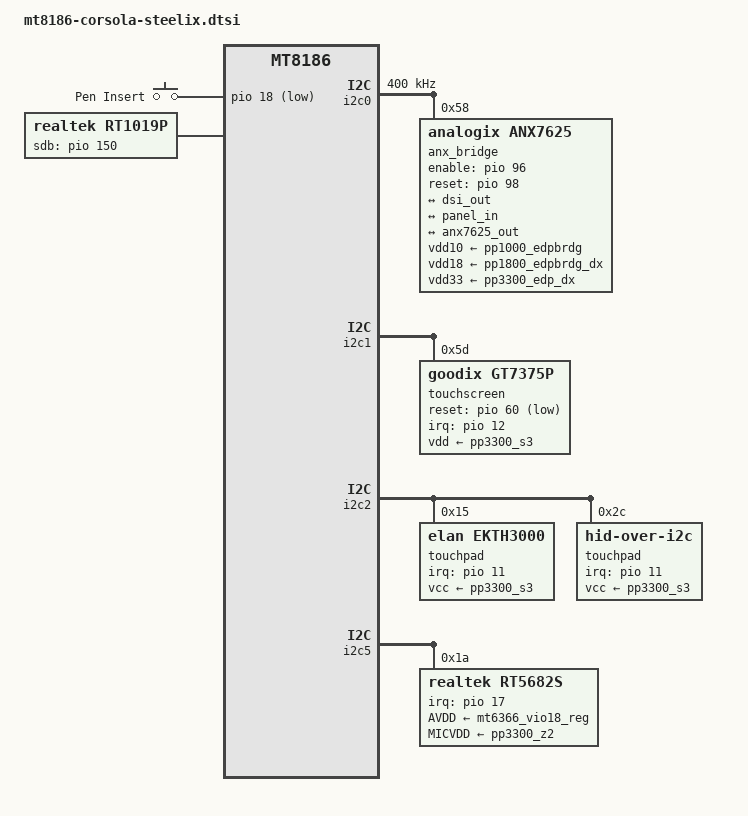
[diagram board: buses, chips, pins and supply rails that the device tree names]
// SPDX-License-Identifier: (GPL-2.0 OR MIT)
/*
 * Copyright 2022 Google LLC
 */

/dts-v1/;
#include "mt8186-corsola.dtsi"
#include "mt8186-corsola-it6505.dtsi"
#include <dt-bindings/input/input.h>
#include <dt-bindings/input/gpio-keys.h>

/ {
	gpio_keys: gpio-keys {
		status = "okay";

		compatible = "gpio-keys";
		pinctrl-names = "default";
		pinctrl-0 = <&pen_eject>;

		pen_insert: pen-insert {
			label = "Pen Insert";
			/* Insert = low, eject = high */
			gpios = <&pio 18 GPIO_ACTIVE_LOW>;
			linux,code = <SW_PEN_INSERTED>;
			linux,input-type = <EV_SW>;
			wakeup-event-action = <EV_ACT_DEASSERTED>;
			wakeup-source;
		};
	};

	rt1019p: rt1019p {
		status = "okay";

		compatible = "realtek,rt1019p";
		pinctrl-names = "default";
		pinctrl-0 = <&rt1019p_pins_default>;
		sdb-gpios = <&pio 150 GPIO_ACTIVE_HIGH>;
		#sound-dai-cells = <0>;
	};
};

&dpi0 {
	pinctrl-names = "sleep", "default";
	pinctrl-0 = <&dpi_pin_default>;
	pinctrl-1 = <&dpi_pin_func>;
};

&dsi_out {
	remote-endpoint = <&anx7625_in_>;
};

&i2c0 {
	clock-frequency = <400000>;

	anx_bridge: anx7625@58 {
		compatible = "analogix,anx7625";
		reg = <0x58>;
		pinctrl-names = "default";
		pinctrl-0 = <&anx7625_pins>;
		panel_flags = <1>;
		enable-gpios = <&pio 96 GPIO_ACTIVE_HIGH>;
		reset-gpios = <&pio 98 GPIO_ACTIVE_HIGH>;
		vdd10-supply = <&pp1000_edpbrdg>;
		vdd18-supply = <&pp1800_edpbrdg_dx>;
		vdd33-supply = <&pp3300_edp_dx>;
		#address-cells = <1>;
		#size-cells = <0>;
		analogix,lane0-swing = /bits/ 8 <0x70 0x30>;
		analogix,lane1-swing = /bits/ 8 <0x70 0x30>;

		port@0 {
			reg = <0>;

			anx7625_in_: endpoint {
				remote-endpoint = <&dsi_out>;
				data-lanes = <0 1 2 3>;
			};
		};

		port@1 {
			reg = <1>;

			anx7625_out: endpoint {
				remote-endpoint = <&panel_in>;
			};
		};

		aux-bus {
			panel: panel {
				compatible = "auo,b116xw03";
				power-supply = <&pp3300_disp_x>;
				backlight = <&backlight_lcd0>;

				port {
					panel_in: endpoint {
						remote-endpoint = <&anx7625_out>;
					};
				};
			};
		};
	};
};

&i2c1 {
	touchscreen: touchscreen@5d {
		status = "okay";

		compatible = "goodix,gt7375p";
		reg = <0x5d>;
		interrupt-parent = <&pio>;
		interrupts = <12 IRQ_TYPE_EDGE_FALLING>;
		pinctrl-names = "default";
		pinctrl-0 = <&touchscreen_pins>;
		reset-gpios = <&pio 60 GPIO_ACTIVE_LOW>;
		vdd-supply = <&pp3300_s3>;
	};
};

&i2c2 {
	i2c-scl-internal-delay-ns = <22000>;
	pinctrl-0 = <&i2c2_pins &trackpad_pins>;
	pinctrl-names = "default";

	touchpad@15 {
		compatible = "elan,ekth3000";
		reg = <0x15>;
		interrupt-parent = <&pio>;
		interrupts = <11 IRQ_TYPE_LEVEL_LOW>;
		vcc-supply = <&pp3300_s3>;
		wakeup-source;
	};

	touchpad@2c {
		compatible = "hid-over-i2c";
		reg = <0x2c>;
		hid-descr-addr = <0x20>;
		interrupts-extended = <&pio 11 IRQ_TYPE_LEVEL_LOW>;
		vcc-supply = <&pp3300_s3>;
		wakeup-source;
	};
};

&i2c5 {
	rt5682s: rt5682s@1a {
		compatible = "realtek,rt5682s";
		reg = <0x1a>;
		interrupt-parent = <&pio>;
		interrupts = <17 IRQ_TYPE_EDGE_BOTH>;
		realtek,jd-src = <1>;
		AVDD-supply = <&mt6366_vio18_reg>;
		MICVDD-supply = <&pp3300_z2>;
		#sound-dai-cells = <0>;
	};
};

&keyboard_controller {
	function-row-physmap = <
		MATRIX_KEY(0x00, 0x02, 0)	/* T1 */
		MATRIX_KEY(0x03, 0x02, 0)	/* T2 */
		MATRIX_KEY(0x02, 0x02, 0)	/* T3 */
		MATRIX_KEY(0x01, 0x02, 0)	/* T4 */
		MATRIX_KEY(0x03, 0x04, 0)	/* T5 */
		MATRIX_KEY(0x02, 0x04, 0)	/* T6 */
		MATRIX_KEY(0x01, 0x04, 0)	/* T7 */
		MATRIX_KEY(0x02, 0x09, 0)	/* T8 */
		MATRIX_KEY(0x01, 0x09, 0)	/* T9 */
		MATRIX_KEY(0x00, 0x04, 0)	/* T10 */
	>;

	linux,keymap = <
		MATRIX_KEY(0x00, 0x02, KEY_BACK)
		MATRIX_KEY(0x03, 0x02, KEY_REFRESH)
		MATRIX_KEY(0x02, 0x02, KEY_ZOOM)
		MATRIX_KEY(0x01, 0x02, KEY_SCALE)
		MATRIX_KEY(0x03, 0x04, KEY_BRIGHTNESSDOWN)
		MATRIX_KEY(0x02, 0x04, KEY_BRIGHTNESSUP)
		MATRIX_KEY(0x01, 0x04, KEY_MICMUTE)
		MATRIX_KEY(0x02, 0x09, KEY_MUTE)
		MATRIX_KEY(0x01, 0x09, KEY_VOLUMEDOWN)
		MATRIX_KEY(0x00, 0x04, KEY_VOLUMEUP)
		CROS_STD_MAIN_KEYMAP
	>;
};

&mmc1_pins_default {
	pins-clk {
		drive-strength = <MTK_DRIVE_8mA>;
	};

	pins-cmd-dat {
		drive-strength = <MTK_DRIVE_8mA>;
	};
};

&mmc1_pins_uhs {
	pins-clk {
		drive-strength = <MTK_DRIVE_8mA>;
	};

	pins-cmd-dat {
		drive-strength = <MTK_DRIVE_8mA>;
	};
};

&pio {
	dpi_pin_default: dpi-pin-default {
		pins-cmd-dat {
			pinmux = <PINMUX_GPIO103__FUNC_GPIO103>,
				 <PINMUX_GPIO104__FUNC_GPIO104>,
				 <PINMUX_GPIO105__FUNC_GPIO105>,
				 <PINMUX_GPIO106__FUNC_GPIO106>,
				 <PINMUX_GPIO107__FUNC_GPIO107>,
				 <PINMUX_GPIO108__FUNC_GPIO108>,
				 <PINMUX_GPIO109__FUNC_GPIO109>,
				 <PINMUX_GPIO110__FUNC_GPIO110>,
				 <PINMUX_GPIO111__FUNC_GPIO111>,
				 <PINMUX_GPIO112__FUNC_GPIO112>,
				 <PINMUX_GPIO113__FUNC_GPIO113>,
				 <PINMUX_GPIO114__FUNC_GPIO114>,
				 <PINMUX_GPIO101__FUNC_GPIO101>,
				 <PINMUX_GPIO100__FUNC_GPIO100>,
				 <PINMUX_GPIO102__FUNC_GPIO102>,
				 <PINMUX_GPIO99__FUNC_GPIO99>;
			drive-strength = <MTK_DRIVE_10mA>;
			output-low;
		};
	};

	dpi_pin_func: dpi-pin-func {
		pins-cmd-dat {
			pinmux = <PINMUX_GPIO103__FUNC_DPI_DATA0>,
				 <PINMUX_GPIO104__FUNC_DPI_DATA1>,
				 <PINMUX_GPIO105__FUNC_DPI_DATA2>,
				 <PINMUX_GPIO106__FUNC_DPI_DATA3>,
				 <PINMUX_GPIO107__FUNC_DPI_DATA4>,
				 <PINMUX_GPIO108__FUNC_DPI_DATA5>,
				 <PINMUX_GPIO109__FUNC_DPI_DATA6>,
				 <PINMUX_GPIO110__FUNC_DPI_DATA7>,
				 <PINMUX_GPIO111__FUNC_DPI_DATA8>,
				 <PINMUX_GPIO112__FUNC_DPI_DATA9>,
				 <PINMUX_GPIO113__FUNC_DPI_DATA10>,
				 <PINMUX_GPIO114__FUNC_DPI_DATA11>,
				 <PINMUX_GPIO101__FUNC_DPI_HSYNC>,
				 <PINMUX_GPIO100__FUNC_DPI_VSYNC>,
				 <PINMUX_GPIO102__FUNC_DPI_DE>,
				 <PINMUX_GPIO99__FUNC_DPI_PCLK>;
			drive-strength = <MTK_DRIVE_10mA>;
		};
	};

	pen_eject: peneject {
		pen-eject {
			pinmux = <PINMUX_GPIO18__FUNC_GPIO18>;
			input-enable;
			/* External pull-up. */
			bias-disable;
		};
	};
};

&anx7625_pins {
	pins2 {
		/delete-property/ bias-pull-up;
		bias-disable;
	};
};

&sound {
	status = "okay";

	compatible = "mediatek,mt8186-mt6366-rt1019-rt5682s-sound";
	mediatek,adsp = <&adsp>;

	playback-codecs {
		sound-dai = <&it6505dptx>,<&rt1019p>;
	};

	headset-codec {
		sound-dai = <&rt5682s>;
	};
};
